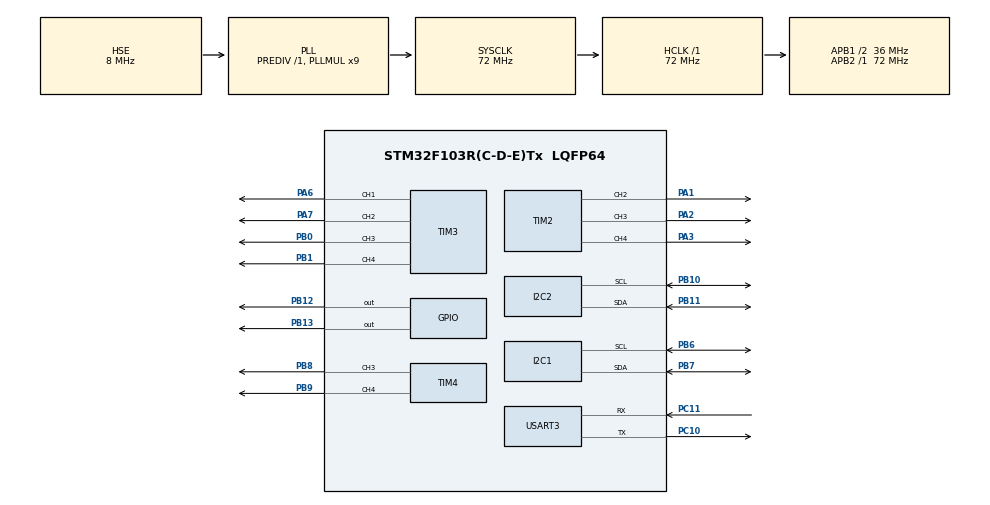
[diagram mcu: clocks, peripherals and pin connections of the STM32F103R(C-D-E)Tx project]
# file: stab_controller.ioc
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FREERTOS.Tasks01=defaultTask,24,128,StartDefaultTask,Default,NULL,Dynamic,NULL,NULL
I2C1.I2C_Mode=I2C_Fast
I2C2.I2C_Mode=I2C_Fast
Mcu.Family=STM32F1
Mcu.Name=STM32F103R(C-D-E)Tx
Mcu.Package=LQFP64
NVIC.PriorityGroup=NVIC_PRIORITYGROUP_4
PA1.Signal=S_TIM2_CH2
PA13.Mode=Serial_Wire
PA13.Signal=SYS_JTMS-SWDIO
PA14.Mode=Serial_Wire
PA14.Signal=SYS_JTCK-SWCLK
PA2.Signal=S_TIM2_CH3
PA3.Signal=S_TIM2_CH4
PA6.Signal=S_TIM3_CH1
PA7.Signal=S_TIM3_CH2
PB0.Signal=S_TIM3_CH3
PB1.Signal=S_TIM3_CH4
PB10.Mode=I2C
PB10.Signal=I2C2_SCL
PB11.Mode=I2C
PB11.Signal=I2C2_SDA
PB12.Signal=GPIO_Output
PB13.Signal=GPIO_Output
PB6.Mode=I2C
PB6.Signal=I2C1_SCL
PB7.Mode=I2C
PB7.Signal=I2C1_SDA
PB8.Signal=S_TIM4_CH3
PB9.Signal=S_TIM4_CH4
PC10.Mode=Asynchronous
PC10.Signal=USART3_TX
PC11.Mode=Asynchronous
PC11.Signal=USART3_RX
PD0-OSC_IN.Mode=HSE-External-Oscillator
PD0-OSC_IN.Signal=RCC_OSC_IN
PD1-OSC_OUT.Mode=HSE-External-Oscillator
PD1-OSC_OUT.Signal=RCC_OSC_OUT
ProjectManager.HeapSize=0x200
ProjectManager.StackSize=0x400
ProjectManager.TargetToolchain=STM32CubeIDE
RCC.AHBFreq_Value=72000000
RCC.APB1CLKDivider=RCC_HCLK_DIV2
RCC.APB1Freq_Value=36000000
RCC.APB1TimFreq_Value=72000000
RCC.APB2Freq_Value=72000000
RCC.APB2TimFreq_Value=72000000
RCC.HCLKFreq_Value=72000000
RCC.PLLMUL=RCC_PLL_MUL9
RCC.PLLSourceVirtual=RCC_PLLSOURCE_HSE
RCC.SYSCLKFreq_VALUE=72000000
RCC.SYSCLKSource=RCC_SYSCLKSOURCE_PLLCLK
RCC.USBFreq_Value=72000000
SH.S_TIM2_CH2.0=TIM2_CH2,PWM Generation2 CH2
SH.S_TIM2_CH3.0=TIM2_CH3,PWM Generation3 CH3
SH.S_TIM2_CH4.0=TIM2_CH4,PWM Generation4 CH4
SH.S_TIM3_CH1.0=TIM3_CH1,PWM Generation1 CH1
SH.S_TIM3_CH2.0=TIM3_CH2,PWM Generation2 CH2
SH.S_TIM3_CH3.0=TIM3_CH3,PWM Generation3 CH3
SH.S_TIM3_CH4.0=TIM3_CH4,PWM Generation4 CH4
SH.S_TIM4_CH3.0=TIM4_CH3,PWM Generation3 CH3
SH.S_TIM4_CH4.0=TIM4_CH4,PWM Generation4 CH4
TIM2.Channel-PWM\ Generation2\ CH2=TIM_CHANNEL_2
TIM2.Channel-PWM\ Generation3\ CH3=TIM_CHANNEL_3
TIM2.Channel-PWM\ Generation4\ CH4=TIM_CHANNEL_4
TIM3.Channel-PWM\ Generation1\ CH1=TIM_CHANNEL_1
TIM3.Channel-PWM\ Generation2\ CH2=TIM_CHANNEL_2
TIM3.Channel-PWM\ Generation3\ CH3=TIM_CHANNEL_3
TIM3.Channel-PWM\ Generation4\ CH4=TIM_CHANNEL_4
TIM4.Channel-PWM\ Generation3\ CH3=TIM_CHANNEL_3
TIM4.Channel-PWM\ Generation4\ CH4=TIM_CHANNEL_4
USART3.VirtualMode=VM_ASYNC
VP_FREERTOS_VS_CMSIS_V2.Mode=CMSIS_V2
board=custom

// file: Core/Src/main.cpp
/* USER CODE BEGIN Header */
/**
  ******************************************************************************
  * @file           : main.cpp
  * @brief          : Main program body для STorM32-BGC v1.30 + SimpleFOC
  ******************************************************************************
  */
/* USER CODE END Header */

#include "main.h"
#include "cmsis_os2.h"
#include "gpio.h"
#include "i2c.h"
#include "tim.h"
#include "usart.h"
//#include "stdio.h"
#include "math.h"
/* USER CODE BEGIN Includes */
#include "BLDCDriver3PWM.h"
#include "BLDCMotor.h"
#include "FOCMotor.h"

#include "mpu6050.h"
#include "notch_filter.h"
#include "fft.h"

#include "FreeRTOS.h"
#include "queue.h"
#include "common/pid.h"

#include "lowpass_filter.h"

#define SAMPLES 128U          // должно быть степенью 2

typedef struct {
    float    data[SAMPLES];   // значения акселерометра
    float    fs;              // реальная частота дискретизации (Гц)
    uint32_t timestamp;       // метка времени (например, HAL_GetTick())
    uint32_t reserved;        // выравнивание
} AccelPacket_t;

// Пример начальных коэффициентов (подбирайте экспериментально!)
static PIDController pid_pitch(0.1f, 0.0f, 0.0f, 500.0f, 25.0f);  // P,I,D,ramp,limit
static PIDController   pid_yaw(1.0f, 0.0f, 0.0f, 500.0f, 25.0f);

LowPassFilter gyro_filter_x(0.025f);

//void init(void) {
//    zc_sliding_init(&zc, sample_buffer, BUFFER_SIZE, WINDOW_DURATION, 0.08f, SAMPLE_RATE);
//}
//
//void process_sample(float adc_value) {
//    float freq = zc_sliding_update(&zc, adc_value, SAMPLE_RATE);
//
//    if (freq > 0.1f) {
//        // используем freq
//    }
//}

typedef struct {
    // Кольцевой буфер для хранения отсчётов
    float* buffer;              // указатель на массив
    uint32_t buffer_size;       // размер буфера (должен быть >= samples_in_window)
    uint32_t head;              // индекс для записи нового значения

    uint32_t sample_count;      // общее количество принятых отсчётов
    uint32_t window_samples;    // количество отсчётов в окне (фиксированная длительность)

    uint32_t zero_crossings;    // текущее количество пересечений в окне
    float prev_sample;          // предыдущее значение (для детекции)

    float last_frequency;       // последняя рассчитанная частота
    float hysteresis;           // гистерезис

    float window_duration;      // длительность окна в секундах (например 0.5f)
} ZeroCrossingSlidingWindow;

#define WINDOW_DURATION  1.0f     // 0.5 секунды
#define SAMPLE_RATE     500.0f
#define BUFFER_SIZE     1024      // должно быть больше чем WINDOW_DURATION * SAMPLE_RATE

float sample_buffer[BUFFER_SIZE];
ZeroCrossingSlidingWindow zc = {0};

void zc_sliding_init(ZeroCrossingSlidingWindow* state,
                     float* buffer,
                     uint32_t buffer_size,
                     float window_duration_sec,
                     float hysteresis,
                     float sample_rate)
{
    state->buffer = buffer;
    state->buffer_size = buffer_size;
    state->window_samples = (uint32_t)(window_duration_sec * sample_rate + 0.5f);

    // Защита от слишком большого окна
    if (state->window_samples > buffer_size) {
        state->window_samples = buffer_size;
    }

    state->head = 0;
    state->sample_count = 0;
    state->zero_crossings = 0;
    state->prev_sample = 0.0f;
    state->last_frequency = 0.0f;
    state->hysteresis = hysteresis;
    state->window_duration = window_duration_sec;

    // Очистка буфера
    for (uint32_t i = 0; i < buffer_size; i++) {
        state->buffer[i] = 0.0f;
    }
}

/**
 * Обновление по одному новому отсчёту
 *
 * @param state       - состояние
 * @param new_sample  - новое значение сигнала
 * @param sample_rate - частота дискретизации
 * @return            - рассчитанная частота в Гц
 */
float zc_sliding_update(ZeroCrossingSlidingWindow* state, float new_sample, float sample_rate)
{
    if (sample_rate <= 0.0f || state->window_samples < 10) {
        return 0.0f;
    }

    // Добавляем новое значение в кольцевой буфер
    uint32_t old_index = state->head;
    float old_sample = state->buffer[old_index];        // значение, которое вытесняем

    state->buffer[state->head] = new_sample;
    state->head = (state->head + 1) % state->buffer_size;
    state->sample_count++;

    // === Обработка пересечений при добавлении нового отсчёта ===
    if ((state->prev_sample <= -state->hysteresis && new_sample > state->hysteresis) ||
        (state->prev_sample >= state->hysteresis && new_sample < -state->hysteresis)) {
        state->zero_crossings++;
    }

    // === Удаляем пересечения, которые вышли за пределы окна ===
    if (state->sample_count > state->window_samples) {
        // Проверяем, было ли пересечение на вытесненном значении
        float next_sample = state->buffer[(old_index + 1) % state->buffer_size]; // следующее после вытесненного

        if ((old_sample <= -state->hysteresis && next_sample > state->hysteresis) ||
            (old_sample >= state->hysteresis && next_sample < -state->hysteresis)) {
            if (state->zero_crossings > 0) {
                state->zero_crossings--;
            }
        }
    }

    state->prev_sample = new_sample;

    // Расчёт частоты (только когда окно заполнено)
    if (state->sample_count >= state->window_samples) {
        float periods = state->zero_crossings / 2.0f;
        float frequency = periods / state->window_duration;

        state->last_frequency = frequency;
    }

    return state->last_frequency;
}

#include <stdio.h>

/* USER CODE END Includes */

/* === EXTERN "C" + ВСЕ НЕОБХОДИМЫЕ ФУНКЦИИ === */
#ifdef __cplusplus
extern "C" {
#endif

int _write(int file, char *ptr, int len)
{
    HAL_UART_Transmit(&huart3, (uint8_t*)ptr, len, HAL_MAX_DELAY);
    return len;
}

void Error_Handler(void)
{
    __disable_irq();
    while (1) {}
}

// Глобальные/статические переменные
NotchFilter gyro_notch;
NotchFilter common_notch;
float gyro_rate_filtered_rad_s = 0.0f;

#define FREQ_BUF_CNT  2

static uint8_t QueueStorageBufferPtrs[FREQ_BUF_CNT];
static AccelPacket_t QueueStorageBuffer[FREQ_BUF_CNT];

//
//static uint8_t datato_calc_stora[FREQ_BUF_CNT * 4];
//static StaticQueue_t accelQueueControlBlock;                      // control block
//
//static const osMessageQueueAttr_t accelQueueAttr = {
//    .name      = "accelQueue",
//    .attr_bits = 0U,
//    .cb_mem    = &accelQueueControlBlock,      // ← ЗАПОЛНЕНО СТАТИЧЕСКИ
//    .cb_size   = sizeof(StaticQueue_t),        // ← ЗАПОЛНЕНО СТАТИЧЕСКИ
//    .mq_mem    = accelQueueStorage,            // данные пакетов
//    .mq_size   = sizeof(accelQueueStorage)
//};

osMessageQueueId_t data_to_calc_QueueHandle;
osMessageQueueId_t data_from_calc_QueueHandle;

// В init (например, в main() или task init)
void Stabilization_Init(void)
{
    // fs — частота вызова фильтра (например 1000 Гц)
    // f_notch — частота вашего резонанса (измерьте осциллографом/FFT)
    // Q — добротность (обычно 5…30, чем выше — уже режекция)
    Notch_Init(&gyro_notch, 500.0f, 104.0f, 30.0f);   // пример: 85 Гц, Q=10
    Notch_Init(&common_notch, 1000.0f, 140.8f, 30.0f);   // пример: 85 Гц, Q=10

}

/* Полная реализация SystemClock_Config (HSE 8MHz → 72MHz) */
void SystemClock_Config(void)
{
    RCC_OscInitTypeDef RCC_OscInitStruct = {0};
    RCC_ClkInitTypeDef RCC_ClkInitStruct = {0};

    RCC_OscInitStruct.OscillatorType = RCC_OSCILLATORTYPE_HSE;
    RCC_OscInitStruct.HSEState = RCC_HSE_ON;
    RCC_OscInitStruct.HSEPredivValue = RCC_HSE_PREDIV_DIV1;
    RCC_OscInitStruct.HSIState = RCC_HSI_ON;
    RCC_OscInitStruct.PLL.PLLState = RCC_PLL_ON;
    RCC_OscInitStruct.PLL.PLLSource = RCC_PLLSOURCE_HSE;
    RCC_OscInitStruct.PLL.PLLMUL = RCC_PLL_MUL9;
    if (HAL_RCC_OscConfig(&RCC_OscInitStruct) != HAL_OK)
    {
        Error_Handler();
    }

    RCC_ClkInitStruct.ClockType = RCC_CLOCKTYPE_HCLK|RCC_CLOCKTYPE_SYSCLK
                                |RCC_CLOCKTYPE_PCLK1|RCC_CLOCKTYPE_PCLK2;
    RCC_ClkInitStruct.SYSCLKSource = RCC_SYSCLKSOURCE_PLLCLK;
    RCC_ClkInitStruct.AHBCLKDivider = RCC_SYSCLK_DIV1;
    RCC_ClkInitStruct.APB1CLKDivider = RCC_HCLK_DIV2;
    RCC_ClkInitStruct.APB2CLKDivider = RCC_HCLK_DIV1;

    if (HAL_RCC_ClockConfig(&RCC_ClkInitStruct, FLASH_LATENCY_2) != HAL_OK)
    {
        Error_Handler();
    }
}

void MX_FREERTOS_Init(void);
void MX_GPIO_Init(void);
void MX_TIM2_Init(void);
void MX_TIM3_Init(void);
void MX_TIM4_Init(void);
void MX_I2C2_Init(void);
void MX_USART3_UART_Init(void);

void HAL_TIM_PeriodElapsedCallback(TIM_HandleTypeDef *htim);

#ifdef __cplusplus
}
#endif
/* ============================================== */

osThreadId_t motorTaskHandle;

/* USER CODE BEGIN PV */
// Драйверы
BLDCDriver3PWM driverMot0(&htim3, TIM_CHANNEL_2, &htim3, TIM_CHANNEL_3, &htim3, TIM_CHANNEL_4);
BLDCDriver3PWM driverMot1(&htim3, TIM_CHANNEL_1, &htim2, TIM_CHANNEL_3, &htim2, TIM_CHANNEL_4);
BLDCDriver3PWM driverMot2(&htim2, TIM_CHANNEL_2, &htim4, TIM_CHANNEL_3, &htim4, TIM_CHANNEL_4);

// Моторы DC-2813C (7 pole pairs)
BLDCMotor motor0 = BLDCMotor(7);
BLDCMotor motor1 = BLDCMotor(7);
BLDCMotor motor2 = BLDCMotor(7);

extern I2C_HandleTypeDef hi2c2;
MPU6050_RawData_t mpu1_data;
MPU6050_RawData_t mpu2_data;

void I2C_ScanExternalBus(I2C_HandleTypeDef *hi2c);

//// Задача в стиле CMSIS-RTOS2
//void MPU6050_Task(void *argument)
//{
//
//    I2C_ScanExternalBus(&hi2c2);
//    I2C_ScanExternalBus(&hi2c1);
//
//
//    if (MPU6050_Init(&hi2c2,0xd0) != HAL_OK) {
//        printf("MPU6050: init error!\r\n");
//        for(;;);                    // остановка задачи
//    }
//    printf("MPU6050: init Ok  (adr 0x69)\r\n");
//
//
//    if (MPU6050_Init(&hi2c1,0xd2) != HAL_OK) {
//            printf("MPU6050: init error!\r\n");
//            for(;;);                    // остановка задачи
//        }
//        printf("MPU6050: init Ok  (adr 0x69)\r\n");
//
//
//
//    uint32_t tick = osKernelGetTickCount();   // для точного периодического вызова
//    uint32_t print_counter = 0;
//
//    for (;;) {
//        MPU6050_ReadRaw(&hi2c2,0xd0, &mpu1_data);
//        MPU6050_ReadRaw(&hi2c1,0xd2, &mpu2_data);
//
//
//        // Конвертация в физические единицы (оптимально для стабилизации)
////        float accel_x = mpu1_data.ax * (8.0f / 32768.0f);   // ±8 g
////        float accel_y = mpu1_data.ay * (8.0f / 32768.0f);
////        float accel_z = mpu1_data.az * (8.0f / 32768.0f);
//
//        float gyro1_x = mpu1_data.gx * (2000.0f / 32768.0f); // ±2000 °/с
//        float gyro1_y = mpu1_data.gy * (2000.0f / 32768.0f);
//        float gyro1_z = mpu1_data.gz * (2000.0f / 32768.0f);
//
//        float gyro2_x = mpu2_data.gx * (2000.0f / 32768.0f); // ±2000 °/с
//        float gyro2_y = mpu2_data.gy * (2000.0f / 32768.0f);
//        float gyro2_z = mpu2_data.gz * (2000.0f / 32768.0f);
//
//        float temperature = (mpu1_data.temp / 340.0f) + 36.53f;
//
//        // Вывод каждые ~100 мс
//        if (++print_counter >= 100) {
//            print_counter = 0;
//            //printf("MPU6050 | Acc: %.3f %.3f %.3f g | Gyro: %.2f %.2f %.2f °/s | Temp: %.2f °C\r\n",
//            printf(">g1x:%f\n",gyro1_x);
//            printf(">g1y:%f\n",gyro1_y);
//            printf(">g1z:%f\n",gyro1_z);
//
//            printf(">g2x:%f\n",gyro2_x);
//            printf(">g2y:%f\n",gyro2_y);
//            printf(">g2z:%f\n",gyro2_z);
////                   accel_x, accel_y, accel_z,
////                   gyro_x, gyro_y, gyro_z,
////                   temperature);
//        }
//
//        tick += 1;                          // 1 мс (1000 Гц)
//        osDelayUntil(tick);
//    }
//}

/* USER CODE END PV */

/* USER CODE BEGIN PFP */
void MotorTask(void *argument);
/* USER CODE END PFP */

/* USER CODE BEGIN 0 */

float vReal[SAMPLES];
float vImag[SAMPLES];

AccelPacket_t* pkt ;
void StartFFT_Task(void *argument)
{
	pkt=NULL;

	uint8_t id;
    printf("\r\n=== FFT Task started (CMSIS-RTOS2) ===\r\n");

    for (;;) {
        // Ждём заполненный буфер
        osStatus_t status = osMessageQueueGet(data_to_calc_QueueHandle,
                                              &id,
                                              NULL,
                                              osWaitForever);
    	pkt = &QueueStorageBuffer[id];
        if (status == osOK) {
            // === Обработка FFT ===
            for (uint16_t i = 0; i < SAMPLES; i++) {
                vReal[i] = pkt->data[i];
                vImag[i] = 0.0f;
            }

            dc_removal(vReal, SAMPLES);
            window_hamming(vReal, SAMPLES);
            fft(vReal, vImag, SAMPLES);
            complex_to_magnitude(vReal, SAMPLES);

            float peak_freq = find_peak_frequency(vReal, pkt->fs, SAMPLES);

            printf("[%lu] Peak frequency: %.2f Hz (fs=%.1f Hz)\r\n",
                   pkt->timestamp, peak_freq, pkt->fs);

            osStatus_t put_status = osMessageQueuePut(data_from_calc_QueueHandle, &id, 0U, 0U);

            if (put_status != osOK) {
                printf("FFT: failed to return buffer to pool!\r\n");
            }

            pkt = NULL;   // очищаем локальную переменную
        }
    }
}

void MotorTask(void *argument)
{
    I2C_ScanExternalBus(&hi2c2);
    I2C_ScanExternalBus(&hi2c1);

    static AccelPacket_t * pkt = NULL;   // static + обнуление
    static uint16_t pkt_pos = 0;

    if (MPU6050_Init(&hi2c2, 0xd0) != HAL_OK) {
        printf("MPU6050: init error!\r\n");
        for (;;); // остановка задачи
    }
    printf("MPU6050: init Ok (adr 0x69)\r\n");

    while (MPU6050_Init(&hi2c1, 0xd2) != HAL_OK) {
    	 I2C_ScanExternalBus(&hi2c1);
        printf("MPU6050: init error!\r\n");
       // for (;;); // остановка задачи
    }
    printf("MPU6050: init Ok (adr 0x69)\r\n");

    // === НАСТРОЙКИ ДЛЯ DC-2813C + 7 В ===
    float vm = 7.0f;
    driverMot0.voltage_power_supply = vm;
    driverMot0.voltage_limit = 7.0f;
    motor0.pole_pairs = 7;
    motor0.voltage_limit = 3.0f;
    motor0.velocity_limit = 30.1f;
    motor0.controller = ControlType::velocity_openloop;

    driverMot1.voltage_power_supply = vm;
    driverMot1.voltage_limit = 7.0f;
    motor1.pole_pairs = 7;
    motor1.voltage_limit = 3.0f;
    motor1.velocity_limit = 30.0f;
    motor1.controller = ControlType::velocity_openloop;

    driverMot2.voltage_power_supply = vm;
    driverMot2.voltage_limit = 7.0f;
    motor2.pole_pairs = 7;
    motor2.voltage_limit = 4.0f;
    motor2.velocity_limit = 30.0f;
    motor2.controller = ControlType::velocity_openloop;

    driverMot0.init();
    motor0.linkDriver(&driverMot0);
    motor0.init();
    motor0.sensor = nullptr;

    driverMot1.init();
    motor1.linkDriver(&driverMot1);
    motor1.init();
    motor1.sensor = nullptr;

    // driverMot2.init();
    // motor2.linkDriver(&driverMot2);
    // motor2.init();
    // motor2.sensor = nullptr;

    motor0.disable();
    motor1.disable();
    osDelay(5000);

    const float DEG_TO_RAD = 3.1415926535f / 180.0f; // π/180

    // === Калибровка offset'ов гироскопов ===
    double sum1 = 0.0;
    double sum2 = 0.0;
    int cnt = 20000;

    uint32_t tick = osKernelGetTickCount();
//    for (int i = 0; i < cnt; i++) {
//        MPU6050_ReadRaw(&hi2c2, 0xd0, &mpu1_data);
//        MPU6050_ReadRaw(&hi2c1, 0xd2, &mpu2_data);
//
//        sum1 += (double)(mpu1_data.gy * (2000.0f / 32768.0f) * DEG_TO_RAD);
//        sum2 += (double)(mpu2_data.gz * (2000.0f / 32768.0f) * DEG_TO_RAD);
//
//        tick += 1;               // период 1 мс
//        osDelayUntil(tick);
//    }
//
//    sum1 = sum1 / cnt;
//    sum2 = sum2 / cnt;
//
//    printf(">sum1:%f\n", (float)sum1);
//    printf(">sum2:%f\n", (float)sum2);

    motor0.enable();
    motor1.enable();
    //motor2.enable();

    HAL_GPIO_TogglePin(GPIOB, GPIO_PIN_12);

    // === Главный цикл с ГАРАНТИРОВАННЫМ периодом ===
    float target_vel = 0.0f; // ← оставлено как в оригинале
    float inc = 0.002;

    float gyro1_y;
    float gyro2_z;

	uint8_t id;

    tick = osKernelGetTickCount();           // начальная метка времени
    const uint32_t PERIOD_MS = 2;            // желаемый период 2 мс

    osStatus_t status;

    for (;;)
    {
//    	if (pkt == NULL)
//    	{
//
//    		status =  osMessageQueueGet(data_from_calc_QueueHandle, &id, NULL, 0); // no wait
//    		if (status == osOK)
//    		{
//    			pkt_pos = 0;
//    		}
//    		else
//    		{
//    			pkt_pos = 0;
//    			pkt = &QueueStorageBuffer[id];
//    		}
//    	}

        MPU6050_ReadRaw(&hi2c2, 0xd0, &mpu1_data);
        gyro1_y = mpu1_data.gy * (2000.0f / 32768.0f) * DEG_TO_RAD ; // pitch
        // Для pitch (мотор0)
        float error_pitch = 0.0f + gyro1_y;           // setpoint = 0 (стабилизация скорости)

        float vel_cmd_pitch = error_pitch;
        //float vel_cmd_pitch = pid_pitch(error_pitch); // ← через PID
        //float vel_cmd_pitch = gyro_filter_x(error_pitch);
        gyro1_y = gyro_filter_x(gyro1_y);
        motor0.move(gyro1_y);

        MPU6050_ReadRaw(&hi2c1, 0xd2, &mpu2_data);
        gyro2_z = mpu2_data.gz * (2000.0f / 32768.0f) * DEG_TO_RAD ; // yaw
        float error_yaw = gyro2_z;
        //float vel_cmd_yaw = pid_yaw(error_yaw);
        motor1.move(-gyro2_z);

//        static int cnt =0;
//
//
//        float freq = zc_sliding_update(&zc, vel_cmd, SAMPLE_RATE);
//
//            if (freq > 0.1f) {
//            	cnt++;
//
//            	if (cnt>128)
//            	{
//
//            		printf("%.2f\r\n",freq);
//            		cnt= 0;
//            	}
//            	//printf("freq %.2f\r\n",freq);
//            	//printf(">g1:%f\n", freq);
//            }

//        if (pkt!=NULL)
//        {
//
//        	 if (pkt_pos >= SAMPLES)
//        	 {
//        		 pkt_pos = 0;
//        		 pkt->timestamp = HAL_GetTick();
//        		 pkt->fs = 500.0f;
//
//        		 osStatus_t put_status = osMessageQueuePut(data_to_calc_QueueHandle, &id, 0U, 0U);
//
//        		 if (put_status != osOK) {
//					printf("Queue put failed: %d (full?)\r\n", put_status);
//
//				} else {
//					printf("Queue put OK\r\n");
//				}
//				pkt = NULL;
//        	 }
//        	 else
//        	 {
//            	 pkt->data[pkt_pos]=gyro1_y;
//            	 pkt_pos++;
//        	 }
//        }

        //printf(">g1:%f\n", gyro1_y);
        //printf(">g2:%f\n", gyro2_z);

        //HAL_GPIO_TogglePin(GPIOB, GPIO_PIN_12);

        tick += PERIOD_MS;

        HAL_GPIO_WritePin(GPIOC, GPIO_PIN_6, GPIO_PIN_RESET);
        osDelayUntil(tick);
        HAL_GPIO_WritePin(GPIOC, GPIO_PIN_6, GPIO_PIN_SET);

    }
}

/**
 * @brief Сканирует I2C-шину и выводит все найденные устройства
 * @param hi2c  - указатель на обработчик I2C (например, &hi2c1 или &hi2c2)
 */
void I2C_ScanExternalBus(I2C_HandleTypeDef *hi2c)
{
    if (hi2c == NULL)
    {
        printf("Error: hi2c == NULL\r\n");
        return;
    }

    printf("=== SCAN I2C BUS ===\r\n");
    printf("Devs addrs (7-bit):\r\n");

    uint8_t found = 0;
    uint32_t start_tick = HAL_GetTick();

    for (uint8_t addr = 1; addr < 128; addr++)   // 0x01 .. 0x7F
    {
        // Проверяем наличие устройства (3 попытки, таймаут 100 мс)
        if (HAL_I2C_IsDeviceReady(hi2c, (addr << 1), 3, 100) == HAL_OK)
        {
            printf("  find: 0x%02X  (0x%02X)\r\n", addr, (addr << 1));
            found++;
        }

        // Небольшая пауза, чтобы не забивать шину
        osDelay(1);
    }

    uint32_t duration_ms = HAL_GetTick() - start_tick;

    if (found == 0)
        printf("  No devs find!\r\n");
    else
        printf("  find devs : %d\r\n", found);

    printf("end of scan  %lu ms\r\n", duration_ms);
    printf("====================================\r\n\r\n");
}

void I2CScanTask(void *argument)
{
    while (1)
    {
        I2C_ScanExternalBus(&hi2c1);   // ваш hi2c
        I2C_ScanExternalBus(&hi2c2);   // ваш hi2c
        osDelay(10000);                // повтор каждые 10 сек (или удалите цикл)
    }
}

void Test_Mot0_PWM(void)
{
    // Запускаем PWM (на всякий случай)
    HAL_TIM_PWM_Start(&htim3, TIM_CHANNEL_2); // PA7  = TIM3_CH2
    HAL_TIM_PWM_Start(&htim3, TIM_CHANNEL_3); // PB0  = TIM3_CH3
    HAL_TIM_PWM_Start(&htim3, TIM_CHANNEL_4); // PB1  = TIM3_CH4

    const uint16_t period = htim3.Init.Period;           // обычно 65535
    uint16_t duty = (uint16_t)(period * 0.30f);          // 30% — начинаем с этого

    while (1)
    {
        // Фиксированная позиция (ротор должен сильно дёрнуться и удерживаться)
        __HAL_TIM_SET_COMPARE(&htim3, TIM_CHANNEL_2, duty);   // Phase A
        __HAL_TIM_SET_COMPARE(&htim3, TIM_CHANNEL_3, 0);      // Phase B
        __HAL_TIM_SET_COMPARE(&htim3, TIM_CHANNEL_4, 0);      // Phase C

        HAL_Delay(2000);   // держим 2 секунды

        // Меняем позицию (чтобы увидеть, что мотор реагирует)
        __HAL_TIM_SET_COMPARE(&htim3, TIM_CHANNEL_2, 0);
        __HAL_TIM_SET_COMPARE(&htim3, TIM_CHANNEL_3, duty);
        __HAL_TIM_SET_COMPARE(&htim3, TIM_CHANNEL_4, 0);

        HAL_Delay(2000);

        __HAL_TIM_SET_COMPARE(&htim3, TIM_CHANNEL_2, 0);
        __HAL_TIM_SET_COMPARE(&htim3, TIM_CHANNEL_3, 0);
        __HAL_TIM_SET_COMPARE(&htim3, TIM_CHANNEL_4, duty);

        HAL_Delay(2000);
    }
}
/* USER CODE END 0 */

int main(void)
{
    HAL_Init();
    SystemClock_Config();

    MX_GPIO_Init();
    MX_TIM2_Init();
    MX_TIM3_Init();
    MX_TIM4_Init();
    MX_I2C2_Init();
    MX_I2C1_Init();
    MX_USART3_UART_Init();

    /* === FreeRTOS === */
    MX_FREERTOS_Init();               // инициализация объектов
    osKernelInitialize();             // ← ЯВНЫЙ вызов
    Stabilization_Init();
    //MotorTask(NULL);

//    data_to_calc_QueueHandle = osMessageQueueNew(FREQ_BUF_CNT, sizeof(AccelPacket_t*), NULL);
//    data_from_calc_QueueHandle = osMessageQueueNew(FREQ_BUF_CNT, sizeof(AccelPacket_t*), NULL);

//    // put all ptrs
//    for (int i=0;i<FREQ_BUF_CNT;i++)
//    {
//    	QueueStorageBufferPtrs[i] = i;
//    	osMessageQueuePut(data_from_calc_QueueHandle, &QueueStorageBufferPtrs[i], 0U, 0U);  // ← &p !
//    }

    zc_sliding_init(&zc, sample_buffer, BUFFER_SIZE, WINDOW_DURATION, 0.08f, SAMPLE_RATE);

	const osThreadAttr_t motorTask_attributes = {
			.name = "MotorTask",
			.stack_size = 8000,
			.priority = (osPriority_t) osPriorityNormal };

	osThreadNew(MotorTask, NULL, &motorTask_attributes);

//	// Создаём задачу анализа
//	const osThreadAttr_t fftTask_attributes = {
//			.name = "FFT_Task",
//			.stack_size =5000,
//			.priority = (osPriority_t) osPriorityNormal };
//
//	osThreadNew(StartFFT_Task, NULL, &fftTask_attributes);

	motorTaskHandle = osThreadNew(MotorTask, NULL, &motorTask_attributes);
	if (motorTaskHandle == NULL) {
		// быстрый красный — задача не создана
		while (1) {
			HAL_GPIO_TogglePin(GPIOB, GPIO_PIN_13);
			osDelay(80);
		}
	}

//    // Атрибуты задачи (стиль CMSIS-RTOS2)
//    const osThreadAttr_t MPU6050Task_attributes = {
//      .name       = "MPU6050",
//      .stack_size = 512 * 4,          // 2 КБ стек (printf любит память)
//      .priority   = osPriorityHigh,   // или osPriorityNormal / osPriorityRealtime — выберите под вашу систему
//    };
//
//    // Создание задачи (RTOS-стиль)
//    osThreadId_t MPU6050TaskHandle = osThreadNew(MPU6050_Task, NULL, &MPU6050Task_attributes);

//    // === НОВАЯ ЗАДАЧА ДЛЯ СКАНИРОВАНИЯ I2C ===
//        osThreadId_t I2CScanTaskHandle;
//        const osThreadAttr_t I2CScanTask_attributes = {
//            .name = "I2CScanTask",
//            .stack_size = 512,        // 0.5 КБ стек (достаточно)
//            .priority = (osPriority_t) osPriorityLow,   // низкий приоритет, чтобы не мешать мотору
//        };
//
//    I2CScanTaskHandle = osThreadNew(I2CScanTask, NULL, &I2CScanTask_attributes);

    osStatus_t status = osKernelStart();

    // Если дошли сюда — osKernelStart() вернул osError
    while(1) {
        HAL_GPIO_TogglePin(GPIOB, GPIO_PIN_13);   // медленный красный
        osDelay(500);
    }
}
